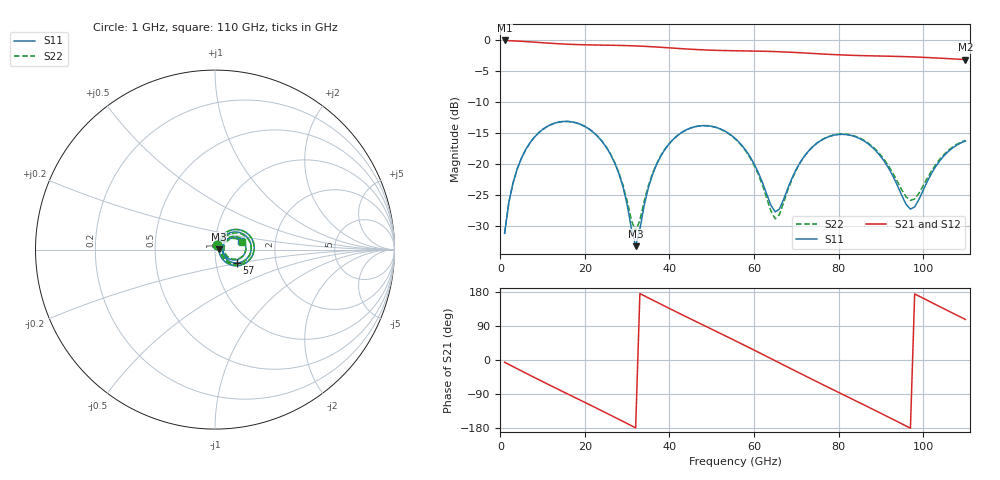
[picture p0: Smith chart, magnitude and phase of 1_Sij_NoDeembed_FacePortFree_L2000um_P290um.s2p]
! Touchstone file exported from HFSS 2024.2.0
!  File:  C:/Users/vaintrug/Documents/Ansoft_Workspace/Comparaison_Calculs_HFSS/1_VarPort.aedt
!  Generated:  03:22:19 PM Jan 21, 2025
!  Design:  1_NoDeembed_FacePortFree
!  Project:  1_VarPort
!  Setup:  Setup1
!  Solution:  Sweep
! Variables:
!  $Lenght = 2000um
!  $PortSize = 290um
!  Gap = 30um
!  Th = 2um
!  X_centralStrip = 20um
!  X_masse = 200um
!  Y_Sub = 2mm
!  Z_Box = 400um
!  Z_Sub = 200um
# GHz S MA R 50.000000
! Terminal data exported
! Port[1] = 1
! Port[2] = 2
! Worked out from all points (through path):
!   110 points, 1 GHz to 110 GHz, reference 50 ohm
!   highest |S21| = -0.13 dB at 1 GHz (marker M1); lowest = -3.2 dB at 110 GHz (marker M2)
!   group delay of S21, straight-line fit = 15.4 ps
!   lowest |S11| = -33.3 dB at 32 GHz (marker M3), VSWR 1.04, Z = 52.2 + j0.0944 ohm
!   |S11| at or under -10 dB: start of sweep to end of sweep
!   |S22| runs from -31.3 to -13.2 dB; largest |S21 - S12| = 1.6e-14
!   S11 on the Smith chart (normalised r, x): 1 GHz: 1.03, +0.05; 57 GHz: 1.26, -0.19; 110 GHz: 1.33, +0.12
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1  0.02732 60.8  0.9854 -5.9  0.9854 -5.9  0.02731 60.8
! Gamma 6.16865812582842 50.2757311118952 6.00329565146553 50.0760004008879
! Port Impedance 50 0 50 0
3  0.06998 65.6  0.9783 -17.4  0.9783 -17.4  0.06994 65.6
7  0.147 48.6  0.9603 -40.3  0.9603 -40.3  0.1469 48.8
13  0.2128 17.8  0.9303 -73.7  0.9303 -73.7  0.2127 18.2
20  0.1993 -17.6  0.909 -112.0  0.909 -112.0  0.1995 -16.6
27  0.102 -48.3  0.9 -150.8  0.9 -150.8  0.1032 -45.3
29  0.06493 -51.8  0.8968 -162.1  0.8968 -162.1  0.0671 -46.9
32  0.02155 2.4  0.8899 -179.1  0.8899 -179.1  0.02832 2.4
35  0.06369 57.2  0.88 163.9  0.88 163.9  0.06633 51.2
38  0.1157 50.6  0.8677 147.1  0.8677 147.1  0.1169 46.8
43  0.1791 29.2  0.8455 119.3  0.8455 119.3  0.1794 26.7
47  0.2013 10.8  0.8305 97.5  0.8305 97.5  0.2011 8.6
56  0.1543 -28.1  0.8132 48.4  0.8132 48.4  0.1528 -30.5
57  0.142 -31.7  0.8122 42.9  0.8122 42.9  0.1403 -34.1
65  0.04077 -3.8  0.8012 -1.9  0.8012 -1.9  0.03585 -3.4
70  0.09006 39.8  0.7874 -30.1  0.7874 -30.1  0.08919 42.6
74  0.1378 30.2  0.7737 -52.4  0.7737 -52.4  0.138 32.0
83  0.1685 -5.6  0.748 -102.0  0.748 -102.0  0.1699 -3.8
92  0.08985 -33.4  0.7352 -151.8  0.7352 -151.8  0.09367 -29.6
97  0.04291 0.1  0.7271 -180.0  0.7271 -180.0  0.05043 0.5
103  0.09495 38.5  0.7119 146.1  0.7119 146.1  0.09828 35.0
110  0.1519 17.3  0.6909 107.0  0.6909 107.0  0.154 15.9
